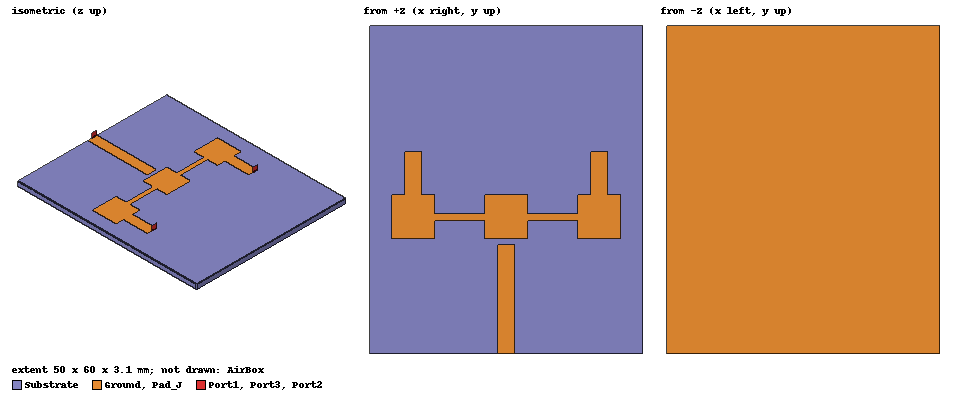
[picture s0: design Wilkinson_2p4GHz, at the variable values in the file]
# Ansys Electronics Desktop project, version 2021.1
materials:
  vacuum: permittivity=1
  FR4_epoxy: permittivity=4.4 dielectric_loss_tangent=0.02

design Wilkinson_2p4GHz (HFSS, DrivenModal, model units mm)
options: Save_Adaptive_support_files
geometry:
  Substrate [FR4_epoxy] = box(corner=(0mm, 0mm, -1.6mm), size=(50mm, 60mm, 1.6mm))
  Ground = rectangle(corner=(0mm, 0mm, -1.6mm), x_size=50mm, y_size=60mm)
  Pad_J = rectangle(corner=(21mm, 21mm, 0mm), x_size=8mm, y_size=8mm)
  TL_in = rectangle(corner=(23.45mm, 0mm, 0mm), x_size=3.1mm, y_size=20mm)
  TL_q_R = rectangle(corner=(25mm, 24.35mm, 0mm), x_size=17mm, y_size=1.3mm)
  TL_q_L = rectangle(corner=(8mm, 24.35mm, 0mm), x_size=17mm, y_size=1.3mm)
  Pad_R = rectangle(corner=(38mm, 21mm, 0mm), x_size=8mm, y_size=8mm)
  Pad_L = rectangle(corner=(4mm, 21mm, 0mm), x_size=8mm, y_size=8mm)
  TL_out_R = rectangle(corner=(40.45mm, 21mm, 0mm), x_size=3.1mm, y_size=16mm)
  TL_out_L = rectangle(corner=(6.45mm, 21mm, 0mm), x_size=3.1mm, y_size=16mm)
  Pad_J.unite(TL_in, TL_q_R, TL_q_L, Pad_R, Pad_L, TL_out_R, TL_out_L)
  Port1 = rectangle(corner=(23.45mm, 0mm, -1.6mm), z_size=3.1mm, x_size=1.6mm)
  Port2 = rectangle(corner=(40.45mm, 37mm, -1.6mm), z_size=3.1mm, x_size=1.6mm)
  Port3 = rectangle(corner=(6.45mm, 37mm, -1.6mm), z_size=3.1mm, x_size=1.6mm)
  AirBox [vacuum] = box(corner=(-15mm, -15mm, -16.6mm), size=(80mm, 90mm, 31.6mm))
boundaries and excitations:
  PerfE1: Perfect E Objects=Ground
  PerfE2: Perfect E Objects=Pad_J
  Radiation: Radiation Objects=AirBox
  1: Lumped Port Objects=Port1 Modes{Mode1{IntLine{Port1.edge(z at corner) at 0.0313 along -> middle of Pad_J.edge(1 of 4)} CharImp=Zpi RenormImp=50ohm}} Impedance=50ohm
  2: Lumped Port Objects=Port2 Modes{Mode1{IntLine{Port2.edge(z at corner) at 0.0313 along -> middle of Pad_J.edge(3 of 4)} CharImp=Zpi RenormImp=50ohm}} Impedance=50ohm
  3: Lumped Port Objects=Port3 Modes{Mode1{IntLine{Port3.edge(z at corner) at 0.0313 along -> middle of Pad_J.edge(3 of 4)} CharImp=Zpi RenormImp=50ohm}} Impedance=50ohm
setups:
  Setup1: HfssDriven Frequency=2.44GHz MaxDeltaS=0.02 MaximumPasses=10 MinimumPasses=1 MinimumConvergedPasses=1 PercentRefinement=30 BasisOrder=1 PortAccuracy=2
    sweep Sweep: 1.5GHz to 3.5GHz, 201 points; Type=Interpolating InterpTolerance=0.5 InterpMaxSolns=250 InterpUsePortImped=false PassivityErrorTolerance=0.0001
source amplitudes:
  1:1: 1W 0deg
  2:1, 3:1: 0W 0deg
